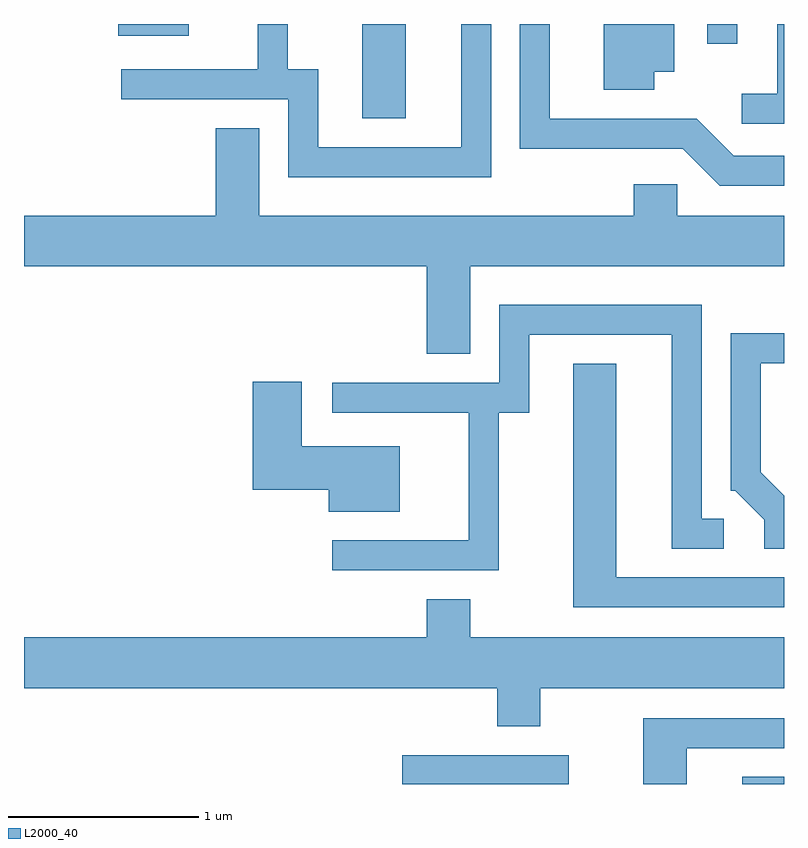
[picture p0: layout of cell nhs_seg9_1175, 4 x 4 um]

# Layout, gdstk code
import gdstk
lib = gdstk.Library(unit=1e-6, precision=1e-09)
def R(c, l, rs):  # rectangles x0, y0, x1, y1
    for r in rs: c.add(gdstk.rectangle(r[:2], r[2:], *l))
def P(c, l, *ps):  # polygons
    for p in ps: c.add(gdstk.Polygon(p, *l))
L2000_40 = (2000, 40)

nhs_seg9_1175 = lib.new_cell('nhs_seg9_1175')
R(nhs_seg9_1175, L2000_40, [(221.603,1982.432,222.479,1982.584), (223.391,1982.432,223.611,1982.469), (221.391,1985.936,221.619,1986.432), (223.206,1986.328,223.364,1986.432), (220.106,1986.371,220.479,1986.432)])
P(nhs_seg9_1175, L2000_40, [(223.611,1986.432),(223.576,1986.432),(223.576,1986.064),(223.388,1986.064),(223.388,1985.906),(223.611,1985.906)],
  [(222.929,1986.181),(223.034,1986.181),(223.034,1986.432),(222.661,1986.432),(222.661,1986.086),(222.929,1986.086)],
  [(222.069,1986.432),(221.911,1986.432),(221.911,1985.784),(221.159,1985.784),(221.159,1986.194),(220.999,1986.194),(220.999,1986.432),(220.841,1986.432),(220.841,1986.194),(220.123,1986.194),(220.123,1986.036),(221.001,1986.036),(221.001,1985.626),(222.069,1985.626)],
  [(223.611,1985.739),(223.347,1985.739),(223.152,1985.934),(222.379,1985.934),(222.379,1986.432),(222.221,1986.432),(222.221,1985.776),(223.079,1985.776),(223.274,1985.581),(223.611,1985.581)],
  [(221.959,1985.156),(223.611,1985.156),(223.611,1985.424),(223.049,1985.424),(223.049,1985.589),(222.821,1985.589),(222.821,1985.424),(220.849,1985.424),(220.849,1985.884),(220.621,1985.884),(220.621,1985.424),(219.611,1985.424),(219.611,1985.156),(221.731,1985.156),(221.731,1984.696),(221.959,1984.696)],
  [(222.109,1984.386),(222.269,1984.386),(222.269,1984.796),(223.021,1984.796),(223.021,1983.671),(223.293,1983.671),(223.293,1983.829),(223.179,1983.829),(223.179,1984.954),(222.111,1984.954),(222.111,1984.544),(221.233,1984.544),(221.233,1984.386),(221.951,1984.386),(221.951,1983.714),(221.233,1983.714),(221.233,1983.556),(222.109,1983.556)],
  [(223.611,1983.95),(223.489,1984.072),(223.489,1984.646),(223.611,1984.646),(223.611,1984.804),(223.331,1984.804),(223.331,1983.976),(223.354,1983.976),(223.506,1983.824),(223.506,1983.671),(223.611,1983.671)],
  [(223.611,1983.519),(222.729,1983.519),(222.729,1984.644),(222.501,1984.644),(222.501,1983.361),(223.611,1983.361)],
  [(221.589,1984.209),(221.074,1984.209),(221.074,1984.549),(220.816,1984.549),(220.816,1983.981),(221.216,1983.981),(221.216,1983.866),(221.589,1983.866)],
  [(222.329,1982.936),(223.611,1982.936),(223.611,1983.204),(221.959,1983.204),(221.959,1983.404),(221.731,1983.404),(221.731,1983.204),(219.611,1983.204),(219.611,1982.936),(222.101,1982.936),(222.101,1982.736),(222.329,1982.736)],
  [(223.099,1982.621),(223.611,1982.621),(223.611,1982.779),(222.871,1982.779),(222.871,1982.432),(223.099,1982.432)])

lib.write_gds('nhs_seg9_1175.gds')
